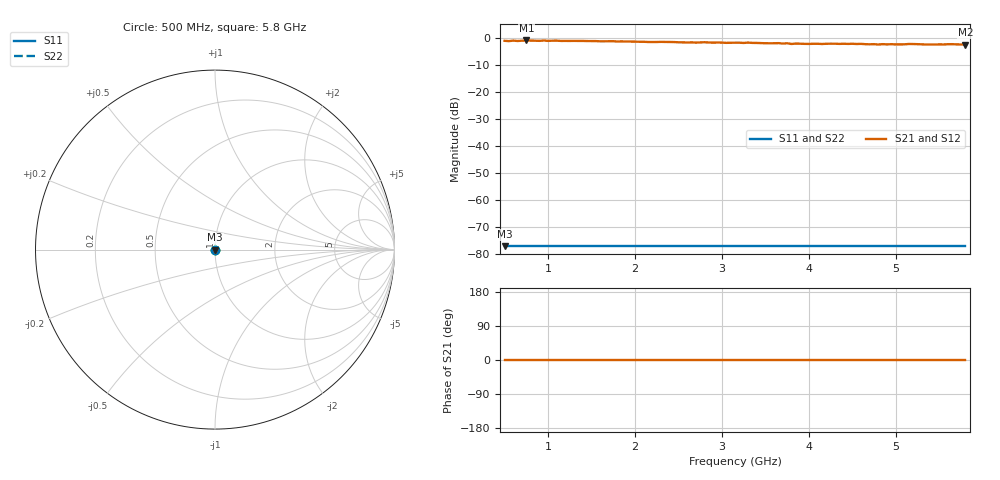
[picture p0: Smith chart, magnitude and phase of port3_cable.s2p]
# GHZ S RI R 50
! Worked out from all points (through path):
!   107 points, 500 MHz to 5.8 GHz, reference 50 ohm
!   highest |S21| = -0.91 dB at 750 MHz (marker M1); lowest = -2.4 dB at 5.8 GHz (marker M2)
!   lowest |S11| = -77.0 dB at 500 MHz (marker M3), VSWR 1.00, Z = 50 + j0.01 ohm
!   |S11| at or under -10 dB: start of sweep to end of sweep
!   |S22| runs from -77.0 to -77.0 dB; largest |S21 - S12| = 0
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0.5  0.0001 0.0001  0.8874 0  0.8874 0  0.0001 0.0001
0.6  0.0001 0.0001  0.8939 0  0.8939 0  0.0001 0.0001
0.65  0.0001 0.0001  0.8801 0  0.8801 0  0.0001 0.0001
0.75  0.0001 0.0001  0.9003 0  0.9003 0  0.0001 0.0001
1.4  0.0001 0.0001  0.8829 0  0.8829 0  0.0001 0.0001
2.3  0.0001 0.0001  0.8483 0  0.8483 0  0.0001 0.0001
2.7  0.0001 0.0001  0.8206 0  0.8206 0  0.0001 0.0001
2.8  0.0001 0.0001  0.834 0  0.834 0  0.0001 0.0001
3.15  0.0001 0.0001  0.8185 0  0.8185 0  0.0001 0.0001
3.65  0.0001 0.0001  0.8034 0  0.8034 0  0.0001 0.0001
3.7  0.0001 0.0001  0.7881 0  0.7881 0  0.0001 0.0001
3.75  0.0001 0.0001  0.7999 0  0.7999 0  0.0001 0.0001
3.8  0.0001 0.0001  0.7749 0  0.7749 0  0.0001 0.0001
3.85  0.0001 0.0001  0.7892 0  0.7892 0  0.0001 0.0001
4.05  0.0001 0.0001  0.781 0  0.781 0  0.0001 0.0001
4.5  0.0001 0.0001  0.7818 0  0.7818 0  0.0001 0.0001
4.8  0.0001 0.0001  0.7574 0  0.7574 0  0.0001 0.0001
4.95  0.0001 0.0001  0.7682 0  0.7682 0  0.0001 0.0001
5.15  0.0001 0.0001  0.7752 0  0.7752 0  0.0001 0.0001
5.4  0.0001 0.0001  0.7564 0  0.7564 0  0.0001 0.0001
5.65  0.0001 0.0001  0.7689 0  0.7689 0  0.0001 0.0001
5.8  0.0001 0.0001  0.7542 0  0.7542 0  0.0001 0.0001
